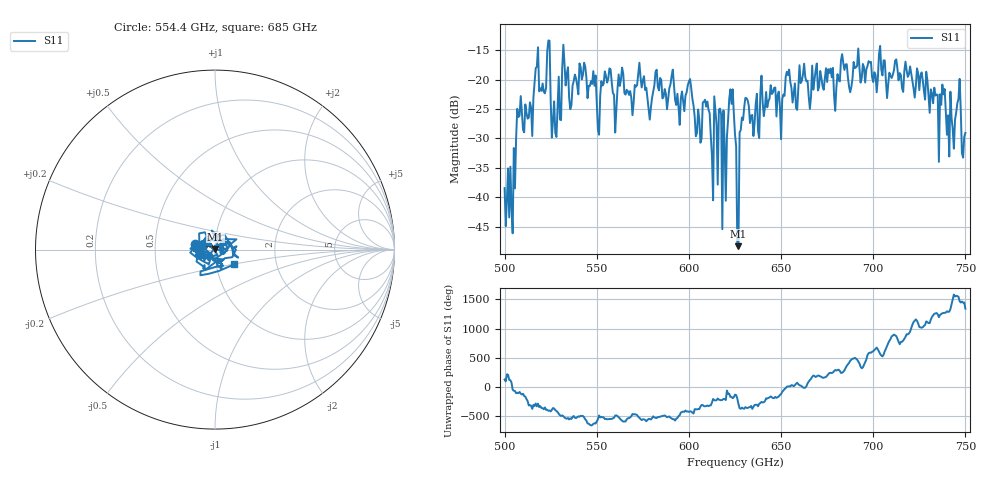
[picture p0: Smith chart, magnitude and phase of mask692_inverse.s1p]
!Created with skrf (http://scikit-rf.org).
# GHz S MA R 50.0
!freq magS11 angS11
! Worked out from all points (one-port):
!   401 points, 500 GHz to 750 GHz, reference 50 ohm
!   lowest |S11| = -48.3 dB at 626.9 GHz (marker M1), VSWR 1.01, Z = 50.2 + j0.34 ohm
!   |S11| at or under -10 dB: start of sweep to end of sweep
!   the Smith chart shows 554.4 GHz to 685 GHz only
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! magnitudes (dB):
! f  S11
! 500 GHz  -38.4
! 505 GHz  -31.6
! 508.1 GHz  -26.1
! 513.8 GHz  -23.9
! 516.9 GHz  -18.1
! 523.8 GHz  -13.4
! 526.9 GHz  -23.7
! 531.2 GHz  -18.0
! 542.5 GHz  -19.2
! 551.2 GHz  -29.4
! 562.5 GHz  -21.1
! 593.8 GHz  -22.4
! 600 GHz  -20.3
! 605.6 GHz  -26.7
! 608.8 GHz  -23.4
! 619.4 GHz  -30.9
! 623.1 GHz  -24.1
! 625 GHz  -29.3
! 626.9 GHz  -48.3
! 628.8 GHz  -26.4
! 631.2 GHz  -23.2
! 656.2 GHz  -23.9
! 687.5 GHz  -22.2
! 718.8 GHz  -19.5
! 737.5 GHz  -20.8
! 742.5 GHz  -26.5
! 746.2 GHz  -23.3
! 750 GHz  -29.0
